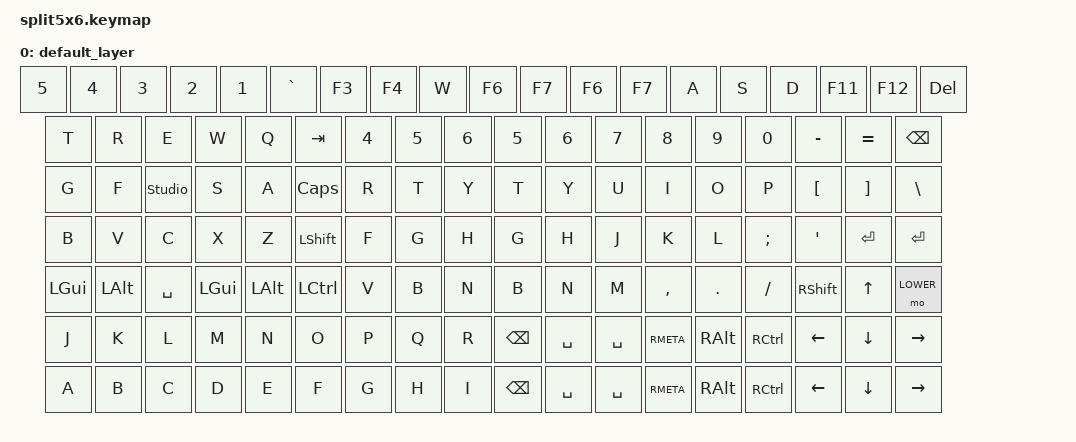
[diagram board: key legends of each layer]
/*
 * Copyright (c) 2020 The ZMK Contributors
 *
 * SPDX-License-Identifier: MIT
 */

#include <behaviors.dtsi>
#include <dt-bindings/zmk/keys.h>
#include <dt-bindings/zmk/bt.h>
#include <dt-bindings/zmk/outputs.h>
#include <dt-bindings/zmk/ext_power.h>
#include <dt-bindings/zmk/rgb.h>

#define DEFAULT 0
#define LOWER   1

/ {
    keymap {
        compatible = "zmk,keymap";

        default_layer {
            // | Esc   | Vol Up | Esc   | F1   | F2  | F3  | F4  | F5  | F6    | F5     | F6  | F7  | F8  | F9  | F10  | F11   | F12   | Del    |
            // | Home  | Vol Dn | `     | 1    | 2   | 3   | 4   | 5   | 6     | 5      | 6   | 7   | 8   | 9   | 0    | -     | =     | Bk Spc |
            // | End   | Tab    | Tab   | Q    | W   | E   | R   | T   | Y     | T      | Y   | U   | I   | O   | P    | [     | ]     | \      |
            // | Pg Up | Caps   | Ctrl  | A    | S   | D   | F   | G   | H     | G      | H   | J   | K   | L   | ;    | '     | Enter | Enter  |
            // | Pg Dn | Up     | Shift | Z    | X   | C   | V   | B   | N     | B      | N   | M   | ,   | .   | /    | Shift | Up    |        |
            // | Left  | Dn     | Right | Ctrl | Alt | Win | Spc | Spc | Enter | Bk Spc | Spc | Spc | Win | Alt | Ctrl | Left  | Dn    | Right  |
            bindings = <
            &kp N5    &kp N4       &kp N3    &kp N2    &kp N1   &kp GRAVE     &kp F3    &kp F4    &kp W    &kp F6    &kp F7     &kp F6    &kp F7    &kp A    &kp S   &kp D   &kp F11   &kp F12   &kp DEL
            &kp T     &kp R        &kp E     &kp W     &kp Q    &kp TAB       &kp N4    &kp N5    &kp N6    &kp N5     &kp N6    &kp N7    &kp N8    &kp N9   &kp N0    &kp MINUS &kp EQUAL &kp BSPC
            &kp G     &kp F    &studio_unlock  &kp S   &kp A    &kp CAPS      &kp R     &kp T     &kp Y     &kp T      &kp Y     &kp U     &kp I     &kp O    &kp P     &kp LBKT  &kp RBKT  &kp BSLH
            &kp B     &kp V        &kp C     &kp X     &kp Z    &kp LSHFT      &kp F     &kp G     &kp H     &kp G      &kp H     &kp J     &kp K     &kp L    &kp SEMI  &kp APOS  &kp ENTER &kp ENTER
            &kp LGUI  &kp LALT    &kp SPACE  &kp LGUI  &kp LALT &kp LCTRL     &kp V     &kp B     &kp N     &kp B      &kp N     &kp M     &kp COMMA &kp DOT  &kp SLASH &kp RSHFT &kp UP    &mo LOWER

            &kp J  &kp K     &kp L &kp M &kp N &kp O &kp P &kp Q &kp R &kp BSPC   &kp SPACE &kp SPACE &kp RMETA &kp RALT &kp RCTRL &kp LEFT  &kp DOWN  &kp RIGHT
            &kp A  &kp B     &kp C &kp D &kp E &kp F &kp G &kp H &kp I &kp BSPC   &kp SPACE &kp SPACE &kp RMETA &kp RALT &kp RCTRL &kp LEFT  &kp DOWN  &kp RIGHT
            >;
        };
    };
};
